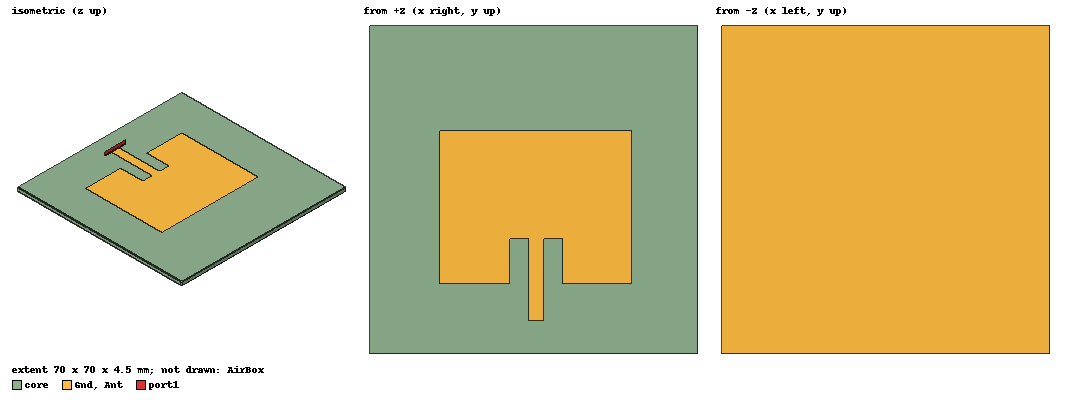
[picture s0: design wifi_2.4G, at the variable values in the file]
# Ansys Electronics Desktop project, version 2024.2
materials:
  vacuum: permittivity=1
  air: permittivity=1.0006 permeability=1.0000004
  Rogers RO4232 (tm): permittivity=3.2 dielectric_loss_tangent=0.0018
  copper: permeability=0.999991 conductivity=58000000

design wifi_2.4G (HFSS, HFSS Hybrid Terminal Network, model units mm)
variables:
  X_0 = 15mm
  Y_0 = 15mm
  subX = 70mm
  subY = 70mm
  subH = 1.5mm
  L_ant = 41mm
  W_ant = 32.5mm
  lamda = 122mm
  T_HOZ_Plating = 40um
  L_open = 4mm
  W_open = 9.5mm
  L_lamda = 9.5mm
  W_lamda = 3.2mm
  L_50ohm = 8mm
  W_50ohm = 3.2mm
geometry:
  AirBox [air] = box(corner=(-(5mm+lamda/2), (60mm+lamda/2), (10mm+lamda)/2), size=(subX+lamda, -(subY+lamda), -(subH+lamda)))
  core [Rogers RO4232 (tm)] = box(corner=(0, 0, 0), size=(subX, subY, subH))
  Gnd [copper, solve inside] = box(corner=(0, 0, 0), size=(subX, subY, -T_HOZ_Plating))
  Ant [copper, solve inside] = rectangle(corner=(X_0, Y_0, subH), x_size=L_ant, y_size=W_ant)
  Open_1 = rectangle(corner=(X_0+L_ant/2, Y_0, subH), x_size=L_open+W_lamda/2, y_size=W_open)
  Open_2 = rectangle(corner=(X_0+L_ant/2, Y_0, subH), x_size=-(L_open+W_lamda/2), y_size=W_open)
  Rectangle_1 = rectangle(corner=(X_0+L_ant/2, Y_0+W_open, subH), x_size=-W_lamda/2, y_size=-L_lamda)
  Rectangle_2 = rectangle(corner=(X_0+L_ant/2, Y_0+W_open, subH), x_size=W_lamda/2, y_size=-L_lamda)
  Rectangle_3_50ohm_1 = rectangle(corner=(X_0+L_ant/2, Y_0+W_open-L_lamda, subH), x_size=-W_50ohm/2, y_size=-L_50ohm)
  Rectangle_4_50ohm_2 = rectangle(corner=(X_0+L_ant/2, Y_0+W_open-L_lamda, subH), x_size=W_50ohm/2, y_size=-L_50ohm)
  Ant.subtract(Open_1, Open_2)
  Ant.unite(Rectangle_1, Rectangle_2, Rectangle_3_50ohm_1, Rectangle_4_50ohm_2)
  Ant.thicken(T_HOZ_plating)
  port1 = rectangle(corner=(X_0+L_ant/2, Y_0+W_open-L_lamda-L_50ohm, 2*subH), z_size=-3*subH, x_size=-3*subH)
  port2 = rectangle(corner=(X_0+L_ant/2, Y_0+W_open-L_lamda-L_50ohm, 2*subH), z_size=-3*subH, x_size=3*subH)
  port1.unite(port2)
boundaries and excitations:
  Rad1: Radiation Objects=AirBox
  Ant_T1: Terminal port=1 Faces=Ant.face(at (35.5, 7, 1.52)) TerminalResistance=50ohm
  1: Lumped Port Faces=port1.face(at (35.5, 7, 0.75)) LumpedPortType=Terminal Impedance=50ohm
  reference conductors: Gnd
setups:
  Setup1: HfssDriven Frequency=2.4GHz MaxDeltaS=0.02 MaximumPasses=6 MinimumPasses=1 MinimumConvergedPasses=1 PercentRefinement=30 BasisOrder=1 PortAccuracy=2 DrivenSolverType="Direct Solver"
    sweep Sweep: 0Hz to 1Hz, 1 points; 1Hz to 100MHz, log, 20 per decade; 100MHz to 1GHz step 10MHz; 1GHz to 5GHz step 10MHz; Type=Interpolating SaveFields SaveRadFields InterpTolerance=0.5 InterpMaxSolns=250 MinSolvedFreq=0.01GHz PassivityErrorTolerance=0.0001
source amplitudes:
  1:1: 1V 0deg
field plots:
  Mag_E1: E Field in Ant on Setup1 : LastAdaptive at Freq=2.4GHz Phase=0deg
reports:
  Terminal S Parameter Plot 1: dB(St(Ant_T1,Ant_T1)) vs Freq on Setup1 : Sweep
  Terminal S Parameter Plot 2: dB(St(Ant_T1,Ant_T1)) vs Freq, X_0 on Setup1 : Sweep
